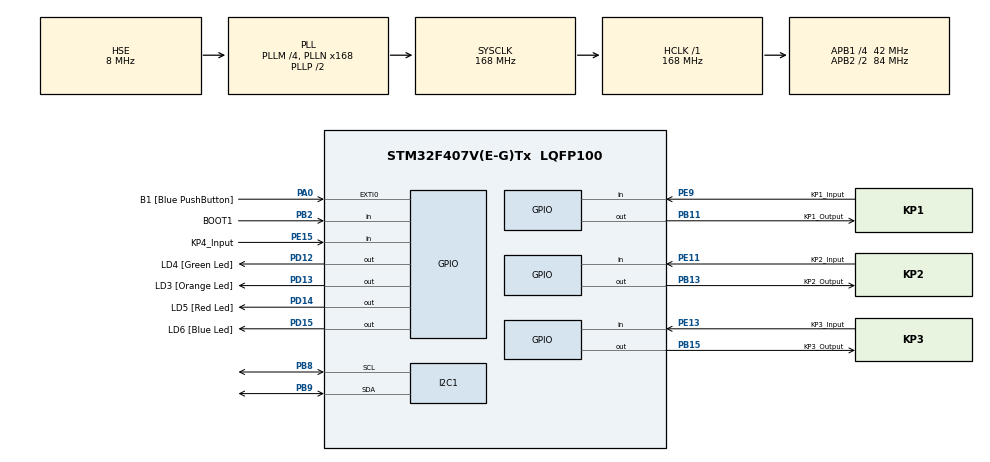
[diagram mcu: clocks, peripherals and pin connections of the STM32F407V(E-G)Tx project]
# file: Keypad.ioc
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Dma.I2C1_RX.1.Direction=DMA_PERIPH_TO_MEMORY
Dma.I2C1_RX.1.FIFOMode=DMA_FIFOMODE_DISABLE
Dma.I2C1_RX.1.Instance=DMA1_Stream0
Dma.I2C1_RX.1.MemDataAlignment=DMA_MDATAALIGN_BYTE
Dma.I2C1_RX.1.MemInc=DMA_MINC_ENABLE
Dma.I2C1_RX.1.Mode=DMA_NORMAL
Dma.I2C1_RX.1.PeriphDataAlignment=DMA_PDATAALIGN_BYTE
Dma.I2C1_RX.1.PeriphInc=DMA_PINC_DISABLE
Dma.I2C1_RX.1.Priority=DMA_PRIORITY_LOW
Dma.I2C1_TX.0.Direction=DMA_MEMORY_TO_PERIPH
Dma.I2C1_TX.0.FIFOMode=DMA_FIFOMODE_DISABLE
Dma.I2C1_TX.0.Instance=DMA1_Stream6
Dma.I2C1_TX.0.MemDataAlignment=DMA_MDATAALIGN_BYTE
Dma.I2C1_TX.0.MemInc=DMA_MINC_ENABLE
Dma.I2C1_TX.0.Mode=DMA_NORMAL
Dma.I2C1_TX.0.PeriphDataAlignment=DMA_PDATAALIGN_BYTE
Dma.I2C1_TX.0.PeriphInc=DMA_PINC_DISABLE
Dma.I2C1_TX.0.Priority=DMA_PRIORITY_LOW
Dma.Request0=I2C1_TX
Dma.Request1=I2C1_RX
I2C1.I2C_Mode=I2C_Standard
I2C1.NoStretchMode=I2C_NOSTRETCH_ENABLE
Mcu.Family=STM32F4
Mcu.Name=STM32F407V(E-G)Tx
Mcu.Package=LQFP100
NVIC.DMA1_Stream0_IRQn=true\:0\:0\:false\:false\:true\:false\:true\:true
NVIC.DMA1_Stream6_IRQn=true\:0\:0\:false\:false\:true\:false\:true\:true
NVIC.I2C1_EV_IRQn=true\:0\:0\:false\:false\:true\:true\:true\:true
NVIC.PriorityGroup=NVIC_PRIORITYGROUP_0
PA0-WKUP.GPIO_Label=B1 [Blue PushButton]
PA0-WKUP.GPIO_ModeDefaultEXTI=GPIO_MODE_EVT_RISING
PA0-WKUP.GPIO_PuPd=GPIO_NOPULL
PA0-WKUP.Signal=GPXTI0
PA13.GPIO_Label=SWDIO
PA13.Mode=Trace_Asynchronous_SW
PA13.Signal=SYS_JTMS-SWDIO
PA14.GPIO_Label=SWCLK
PA14.Mode=Trace_Asynchronous_SW
PA14.Signal=SYS_JTCK-SWCLK
PB11.GPIO_Label=KP1_Output
PB11.GPIO_PuPd=GPIO_PULLDOWN
PB11.Signal=GPIO_Output
PB13.GPIO_Label=KP2_Output
PB13.GPIO_PuPd=GPIO_PULLDOWN
PB13.Signal=GPIO_Output
PB15.GPIO_Label=KP3_Output
PB15.GPIO_PuPd=GPIO_PULLDOWN
PB15.Signal=GPIO_Output
PB2.GPIO_Label=BOOT1
PB2.GPIO_Mode=GPIO_MODE_INPUT
PB2.GPIO_PuPd=GPIO_NOPULL
PB2.Signal=GPIO_Input
PB3.GPIO_Label=SWO
PB3.Mode=Trace_Asynchronous_SW
PB3.Signal=SYS_JTDO-SWO
PB8.GPIO_Pu=GPIO_NOPULL
PB8.Mode=I2C
PB8.Signal=I2C1_SCL
PB9.GPIO_Pu=GPIO_NOPULL
PB9.Mode=I2C
PB9.Signal=I2C1_SDA
PC14-OSC32_IN.GPIO_Label=PC14-OSC32_IN
PC14-OSC32_IN.Mode=LSE-External-Oscillator
PC14-OSC32_IN.Signal=RCC_OSC32_IN
PC15-OSC32_OUT.GPIO_Label=PC15-OSC32_OUT
PC15-OSC32_OUT.Mode=LSE-External-Oscillator
PC15-OSC32_OUT.Signal=RCC_OSC32_OUT
PD12.GPIO_Label=LD4 [Green Led]
PD12.GPIO_PuPd=GPIO_NOPULL
PD12.GPIO_Speed=GPIO_SPEED_FREQ_LOW
PD12.Signal=GPIO_Output
PD13.GPIO_Label=LD3 [Orange Led]
PD13.GPIO_PuPd=GPIO_NOPULL
PD13.GPIO_Speed=GPIO_SPEED_FREQ_LOW
PD13.Signal=GPIO_Output
PD14.GPIO_Label=LD5 [Red Led]
PD14.GPIO_PuPd=GPIO_NOPULL
PD14.GPIO_Speed=GPIO_SPEED_FREQ_LOW
PD14.Signal=GPIO_Output
PD15.GPIO_Label=LD6 [Blue Led]
PD15.GPIO_PuPd=GPIO_NOPULL
PD15.GPIO_Speed=GPIO_SPEED_FREQ_LOW
PD15.Signal=GPIO_Output
PE11.GPIO_Label=KP2_Input
PE11.GPIO_PuPd=GPIO_PULLDOWN
PE11.Signal=GPIO_Input
PE13.GPIO_Label=KP3_Input
PE13.GPIO_PuPd=GPIO_PULLDOWN
PE13.Signal=GPIO_Input
PE15.GPIO_Label=KP4_Input
PE15.GPIO_PuPd=GPIO_PULLDOWN
PE15.Signal=GPIO_Input
PE9.GPIO_Label=KP1_Input
PE9.GPIO_PuPd=GPIO_PULLDOWN
PE9.Signal=GPIO_Input
PH0-OSC_IN.GPIO_Label=PH0-OSC_IN
PH0-OSC_IN.Mode=HSE-External-Oscillator
PH0-OSC_IN.Signal=RCC_OSC_IN
PH1-OSC_OUT.GPIO_Label=PH1-OSC_OUT
PH1-OSC_OUT.Mode=HSE-External-Oscillator
PH1-OSC_OUT.Signal=RCC_OSC_OUT
ProjectManager.HeapSize=0x200
ProjectManager.StackSize=0x400
ProjectManager.TargetToolchain=STM32CubeIDE
RCC.48MHZClocksFreq_Value=48000000
RCC.AHBFreq_Value=168000000
RCC.APB1CLKDivider=RCC_HCLK_DIV4
RCC.APB1Freq_Value=42000000
RCC.APB1TimFreq_Value=84000000
RCC.APB2CLKDivider=RCC_HCLK_DIV2
RCC.APB2Freq_Value=84000000
RCC.APB2TimFreq_Value=168000000
RCC.CortexFreq_Value=168000000
RCC.HCLKFreq_Value=168000000
RCC.HSE_VALUE=8000000
RCC.HSI_VALUE=16000000
RCC.PLLM=4
RCC.PLLN=168
RCC.PLLQ=7
RCC.PLLSourceVirtual=RCC_PLLSOURCE_HSE
RCC.SYSCLKFreq_VALUE=168000000
RCC.SYSCLKSource=RCC_SYSCLKSOURCE_PLLCLK
RCC.VCOOutputFreq_Value=336000000
board=STM32F407G-DISC1

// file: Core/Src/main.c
/* USER CODE BEGIN Header */
/**
  ******************************************************************************
  * @file           : main.c
  * @brief          : Main program body
  ******************************************************************************
  * @attention
  *
  * <h2><center>&copy; Copyright (c) 2022 STMicroelectronics.
  * All rights reserved.</center></h2>
  *
  * This software component is licensed by ST under Ultimate Liberty license
  * SLA0044, the "License"; You may not use this file except in compliance with
  * the License. You may obtain a copy of the License at:
  *                             www.st.com/SLA0044
  *
  ******************************************************************************
  */
/* USER CODE END Header */
#include "main.h"

/* USER CODE BEGIN Includes */
#include "qpc.h"
#include "bsp.h"
#include "my_mpu6050.h"
#include "mpu6050.h"
/* USER CODE END Includes */

/* USER CODE BEGIN PTD */
Q_DEFINE_THIS_FILE
/* USER CODE END PTD */

/* USER CODE BEGIN PD */
#define DEMCR        			*((volatile uint32_t*) 0xE000EDFCU )
#define ITM_STIMULUS_PORT0   	*((volatile uint32_t*) 0xE0000000 )
#define ITM_TRACE_EN          	*((volatile uint32_t*) 0xE0000E00 )

/* USER CODE END PD */

I2C_HandleTypeDef hi2c1;
DMA_HandleTypeDef hdma_i2c1_tx;
DMA_HandleTypeDef hdma_i2c1_rx;

/* USER CODE BEGIN PV */
mpu6050 myMpu;
MPU6050_t MPU6050;
/* USER CODE END PV */

void SystemClock_Config(void);
static void MX_GPIO_Init(void);
static void MX_DMA_Init(void);
static void MX_I2C1_Init(void);
/* USER CODE BEGIN PFP */
void xITM_SendChar(uint8_t ch)
{

	//Enable TRCENA
	DEMCR |= ( 1 << 24);

	//enable stimulus port 0
	ITM_TRACE_EN |= ( 1 << 0);

	// read FIFO status in bit [0]:
	while(!(ITM_STIMULUS_PORT0 & 1));

	//Write to ITM stimulus port0
	ITM_STIMULUS_PORT0 = ch;
}

int _write(int file, char *ptr, int len)
{
  /* Implement your write code here, this is used by puts and printf for example */
  int i=0;

  for(i=0 ; i<len ; i++)
    xITM_SendChar((*ptr++));

  return len;
}

/* USER CODE END PFP */

int main(void)
{
  /* USER CODE BEGIN 1 */
	static QEvt const *keypad_queueSto[100]; /* event queue buffer for Blinky */
  /* USER CODE END 1 */

  /* MCU Configuration--------------------------------------------------------*/

  /* Reset of all peripherals, Initializes the Flash interface and the Systick. */
  HAL_Init();

  /* Configure the system clock */
  SystemClock_Config();

  /* Initialize all configured peripherals */
  MX_GPIO_Init();
  MX_DMA_Init();
  MX_I2C1_Init();
  /* USER CODE BEGIN 2 */
  mpu6050_detect(&hi2c1);
  while(mpu6050_config(&hi2c1) != 0);
  mpu6050_ConfigGyro(&hi2c1, &myMpu);
  mpu6050_ConfigAccel(&hi2c1, &myMpu);
//  while (MPU6050_Init(&hi2c1) == 1);
//  QF_init();  /* initialize the framework */
//  BSP_init(); /* initialize the BSP */
//
//  /* instantiate and start the Blinky active object */
//  Keypad_ctor(); /* in C you must explicitly call the Blinky constructor */
//  QACTIVE_START(AO_Keypad, /* active object to start */
//      1U,                  /* priority of the active object */
//      keypad_queueSto,     /* event queue buffer */
//      Q_DIM(keypad_queueSto), /* the length of the buffer */
//      (void *)0, 0U,       /* private stack (not used) */
//      (QEvt *)0);          /* initialization event (not used) */
//
//  return QF_run(); /* let the framework run the application */
  /* USER CODE END 2 */

  /* Infinite loop */
  while (1)
  {

    /* USER CODE BEGIN 3 */
	  mpu6050_CalcAngle(&hi2c1, &myMpu);
	//  MPU6050_Read_All(&hi2c1, &MPU6050);
	  HAL_Delay(10);
  }
  /* USER CODE END 3 */
}

void SystemClock_Config(void)
{
  RCC_OscInitTypeDef RCC_OscInitStruct = {0};
  RCC_ClkInitTypeDef RCC_ClkInitStruct = {0};

  /** Configure the main internal regulator output voltage
  */
  __HAL_RCC_PWR_CLK_ENABLE();
  __HAL_PWR_VOLTAGESCALING_CONFIG(PWR_REGULATOR_VOLTAGE_SCALE1);

  /** Initializes the RCC Oscillators according to the specified parameters
  * in the RCC_OscInitTypeDef structure.
  */
  RCC_OscInitStruct.OscillatorType = RCC_OSCILLATORTYPE_HSE;
  RCC_OscInitStruct.HSEState = RCC_HSE_ON;
  RCC_OscInitStruct.PLL.PLLState = RCC_PLL_ON;
  RCC_OscInitStruct.PLL.PLLSource = RCC_PLLSOURCE_HSE;
  RCC_OscInitStruct.PLL.PLLM = 4;
  RCC_OscInitStruct.PLL.PLLN = 168;
  RCC_OscInitStruct.PLL.PLLP = RCC_PLLP_DIV2;
  RCC_OscInitStruct.PLL.PLLQ = 7;
  if (HAL_RCC_OscConfig(&RCC_OscInitStruct) != HAL_OK)
  {
    Error_Handler();
  }

  /** Initializes the CPU, AHB and APB buses clocks
  */
  RCC_ClkInitStruct.ClockType = RCC_CLOCKTYPE_HCLK|RCC_CLOCKTYPE_SYSCLK
                              |RCC_CLOCKTYPE_PCLK1|RCC_CLOCKTYPE_PCLK2;
  RCC_ClkInitStruct.SYSCLKSource = RCC_SYSCLKSOURCE_PLLCLK;
  RCC_ClkInitStruct.AHBCLKDivider = RCC_SYSCLK_DIV1;
  RCC_ClkInitStruct.APB1CLKDivider = RCC_HCLK_DIV4;
  RCC_ClkInitStruct.APB2CLKDivider = RCC_HCLK_DIV2;

  if (HAL_RCC_ClockConfig(&RCC_ClkInitStruct, FLASH_LATENCY_5) != HAL_OK)
  {
    Error_Handler();
  }
}

static void MX_I2C1_Init(void)
{

  hi2c1.Instance = I2C1;
  hi2c1.Init.ClockSpeed = 100000;
  hi2c1.Init.DutyCycle = I2C_DUTYCYCLE_2;
  hi2c1.Init.OwnAddress1 = 0;
  hi2c1.Init.AddressingMode = I2C_ADDRESSINGMODE_7BIT;
  hi2c1.Init.DualAddressMode = I2C_DUALADDRESS_DISABLE;
  hi2c1.Init.OwnAddress2 = 0;
  hi2c1.Init.GeneralCallMode = I2C_GENERALCALL_DISABLE;
  hi2c1.Init.NoStretchMode = I2C_NOSTRETCH_ENABLE;
  if (HAL_I2C_Init(&hi2c1) != HAL_OK)
  {
    Error_Handler();
  }

}

static void MX_DMA_Init(void)
{

  /* DMA controller clock enable */
  __HAL_RCC_DMA1_CLK_ENABLE();

  /* DMA interrupt init */
  /* DMA1_Stream0_IRQn interrupt configuration */
  HAL_NVIC_SetPriority(DMA1_Stream0_IRQn, 0, 0);
  HAL_NVIC_EnableIRQ(DMA1_Stream0_IRQn);
  /* DMA1_Stream6_IRQn interrupt configuration */
  HAL_NVIC_SetPriority(DMA1_Stream6_IRQn, 0, 0);
  HAL_NVIC_EnableIRQ(DMA1_Stream6_IRQn);

}

static void MX_GPIO_Init(void)
{
  GPIO_InitTypeDef GPIO_InitStruct = {0};

  /* GPIO Ports Clock Enable */
  __HAL_RCC_GPIOC_CLK_ENABLE();
  __HAL_RCC_GPIOH_CLK_ENABLE();
  __HAL_RCC_GPIOA_CLK_ENABLE();
  __HAL_RCC_GPIOB_CLK_ENABLE();
  __HAL_RCC_GPIOE_CLK_ENABLE();
  __HAL_RCC_GPIOD_CLK_ENABLE();

  /*Configure GPIO pin Output Level */
  HAL_GPIO_WritePin(GPIOB, KP1_Output_Pin|KP2_Output_Pin|KP3_Output_Pin, GPIO_PIN_RESET);

  /*Configure GPIO pin Output Level */
  HAL_GPIO_WritePin(GPIOD, LD4_Pin|LD3_Pin|LD5_Pin|LD6_Pin, GPIO_PIN_RESET);

  /*Configure GPIO pin : B1_Pin */
  GPIO_InitStruct.Pin = B1_Pin;
  GPIO_InitStruct.Mode = GPIO_MODE_EVT_RISING;
  GPIO_InitStruct.Pull = GPIO_NOPULL;
  HAL_GPIO_Init(B1_GPIO_Port, &GPIO_InitStruct);

  /*Configure GPIO pin : BOOT1_Pin */
  GPIO_InitStruct.Pin = BOOT1_Pin;
  GPIO_InitStruct.Mode = GPIO_MODE_INPUT;
  GPIO_InitStruct.Pull = GPIO_NOPULL;
  HAL_GPIO_Init(BOOT1_GPIO_Port, &GPIO_InitStruct);

  /*Configure GPIO pins : KP1_Input_Pin KP2_Input_Pin KP3_Input_Pin KP4_Input_Pin */
  GPIO_InitStruct.Pin = KP1_Input_Pin|KP2_Input_Pin|KP3_Input_Pin|KP4_Input_Pin;
  GPIO_InitStruct.Mode = GPIO_MODE_INPUT;
  GPIO_InitStruct.Pull = GPIO_PULLDOWN;
  HAL_GPIO_Init(GPIOE, &GPIO_InitStruct);

  /*Configure GPIO pins : KP1_Output_Pin KP2_Output_Pin KP3_Output_Pin */
  GPIO_InitStruct.Pin = KP1_Output_Pin|KP2_Output_Pin|KP3_Output_Pin;
  GPIO_InitStruct.Mode = GPIO_MODE_OUTPUT_PP;
  GPIO_InitStruct.Pull = GPIO_PULLDOWN;
  GPIO_InitStruct.Speed = GPIO_SPEED_FREQ_LOW;
  HAL_GPIO_Init(GPIOB, &GPIO_InitStruct);

  /*Configure GPIO pins : LD4_Pin LD3_Pin LD5_Pin LD6_Pin */
  GPIO_InitStruct.Pin = LD4_Pin|LD3_Pin|LD5_Pin|LD6_Pin;
  GPIO_InitStruct.Mode = GPIO_MODE_OUTPUT_PP;
  GPIO_InitStruct.Pull = GPIO_NOPULL;
  GPIO_InitStruct.Speed = GPIO_SPEED_FREQ_LOW;
  HAL_GPIO_Init(GPIOD, &GPIO_InitStruct);

}

/* USER CODE BEGIN 4 */

void HAL_SYSTICK_Callback(void)
{
  /* NOTE : This function Should not be modified, when the callback is needed,
            the HAL_SYSTICK_Callback could be implemented in the user file
   */

	QF_TICK_X(0U, (void *)0); /* QF clock tick processing for rate 0 */

}

/* USER CODE END 4 */

void Error_Handler(void)
{
  __disable_irq();
  while (1)
  {
  }
}
